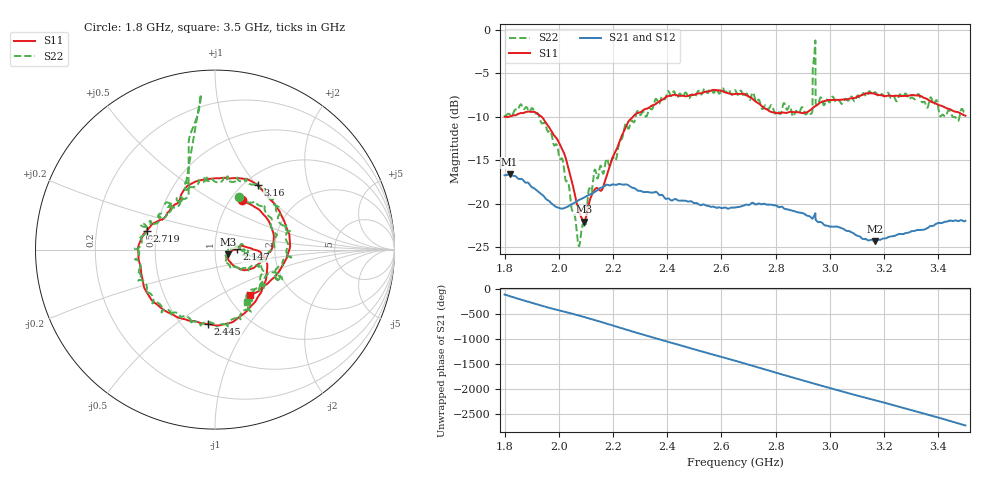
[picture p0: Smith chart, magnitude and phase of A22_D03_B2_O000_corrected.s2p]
! Created with skrf 1.9.0 (http://scikit-rf.org).
# Hz S RI R 50.0
!freq ReS11 ImS11 ReS21 ImS21 ReS12 ImS12 ReS22 ImS22
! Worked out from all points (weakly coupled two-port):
!   1601 points, 1.8 GHz to 3.5 GHz, reference 50 ohm
!   highest |S21| = -16.62 dB at 1.818 GHz (marker M1); lowest = -24.3 dB at 3.165 GHz (marker M2)
!   lowest |S11| = -22.0 dB at 2.092 GHz (marker M3), VSWR 1.17, Z = 58 - j2.97 ohm
!   |S11| at or under -10 dB: 1.801 GHz to 1.816 GHz (15.55 MHz wide, 0.86 % of centre); 1.937 GHz to 2.274 GHz (336.8 MHz wide, 16 % of centre)
!   |S22| runs from -24.9 to -1.2 dB; largest |S21 - S12| = 0.0025
!   S11 on the Smith chart (normalised r, x): 1.8 GHz: 1.12, +0.70; 2.147 GHz: 1.28, +0.01; 2.445 GHz: 0.66, -0.66; 2.719 GHz: 0.44, +0.11; 3.16 GHz: 1.15, +1.01; 3.5 GHz: 1.27, -0.71
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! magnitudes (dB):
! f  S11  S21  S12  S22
! 1.8 GHz  -10.0  -16.7  -16.7  -9.8
! 1.818 GHz  -10.0  -16.6  -16.6  -9.7
! 1.968 GHz  -11.4  -19.8  -19.8  -11.6
! 2.015 GHz  -13.9  -20.5  -20.6  -15.0
! 2.071 GHz  -20.5  -19.6  -19.6  -24.5
! 2.084 GHz  -21.6  -19.4  -19.4  -23.0
! 2.092 GHz  -22.0  -19.3  -19.3  -22.4
! 2.147 GHz  -18.3  -18.3  -18.3  -16.5
! 2.258 GHz  -10.5  -17.9  -17.9  -11.4
! 2.367 GHz  -8.3  -18.9  -18.8  -8.4
! 2.445 GHz  -7.6  -19.6  -19.6  -7.3
! 2.65 GHz  -7.4  -20.4  -20.4  -6.9
! 2.719 GHz  -8.1  -19.9  -19.9  -7.4
! 2.867 GHz  -9.5  -20.8  -20.8  -9.9
! 2.927 GHz  -9.3  -21.5  -21.5  -9.6
! 2.934 GHz  -9.1  -21.7  -21.6  -9.5
! 2.945 GHz  -8.8  -21.2  -21.2  -1.8
! 2.956 GHz  -8.6  -22.1  -22.0  -8.6
! 3.16 GHz  -7.3  -24.2  -24.2  -7.4
! 3.165 GHz  -7.4  -24.3  -24.3  -7.2
! 3.217 GHz  -7.6  -23.8  -23.8  -7.3
! 3.5 GHz  -9.9  -21.9  -21.9  -9.3
